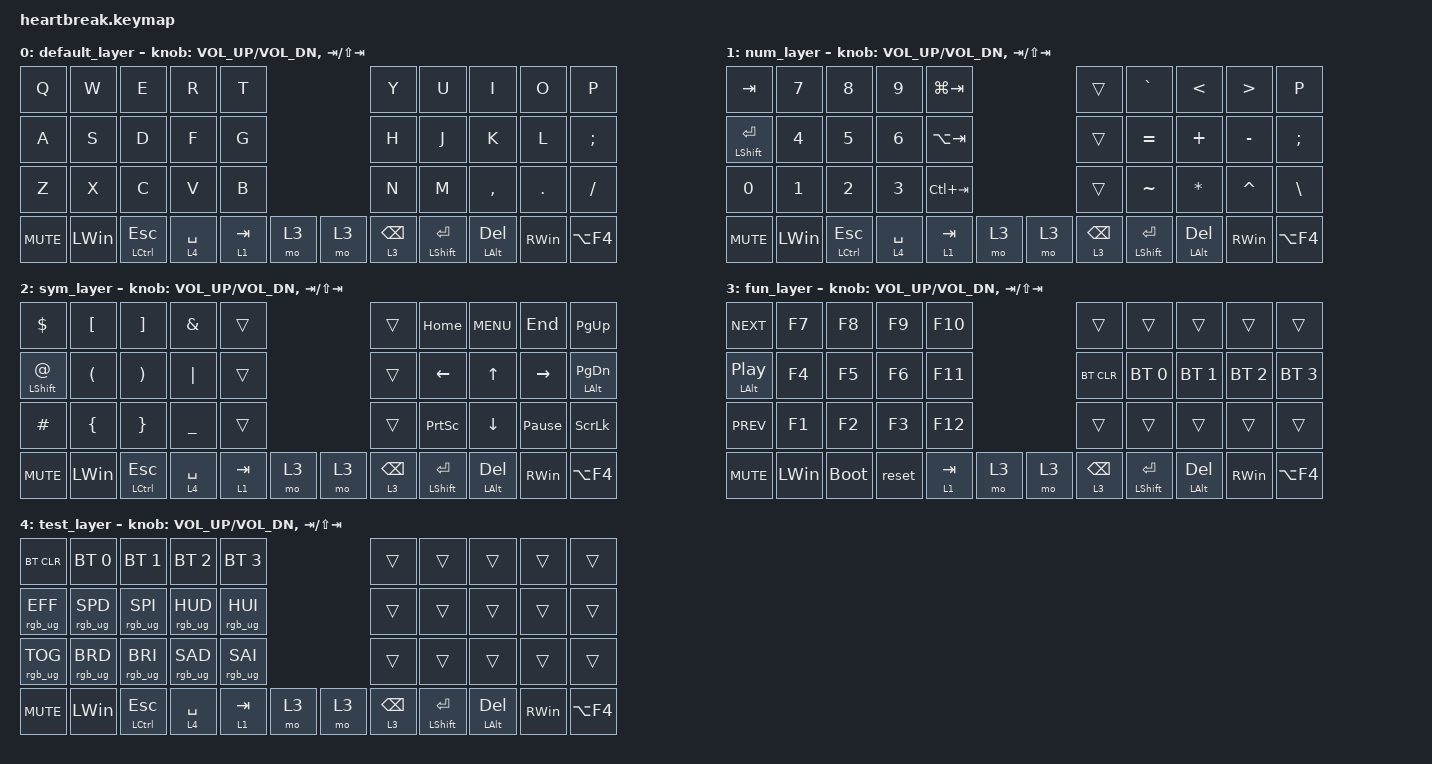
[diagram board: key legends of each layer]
// Copyright (c) 2022 The ZMK Contributors
// SPDX-License-Identifier: MIT

#include <behaviors.dtsi>
#include <dt-bindings/zmk/keys.h>
#include <dt-bindings/zmk/rgb.h>
#include <dt-bindings/zmk/bt.h>
#define default_layer 0
#define num_layer     1
#define sym_layer     2
#define fun_layer     3
#define test_layer	  4

/ {
	keymap {
		compatible = "zmk,keymap";

		default_layer {
			bindings = <
	&kp Q		&kp W		&kp E			&kp R		&kp T								&kp Y		&kp U			&kp I			&kp O		&kp P
	&kp A		&kp S		&kp D			&kp F		&kp G								&kp H		&kp J			&kp K			&kp L		&kp SEMI
	&kp Z		&kp X		&kp C			&kp V		&kp B								&kp N		&kp M			&kp COMMA		&kp DOT		&kp FSLH
	&kp C_MUTE	&kp LWIN	&mt LCTRL ESC	&lt 4 SPACE	&lt 1 TAB	&mo 3			&mo 3	&lt 3 BSPC	&mt LSHIFT RET	&mt LALT DEL	&kp RWIN	&kp LA(F4)
			>;

			sensor-bindings = <&inc_dec_kp C_VOL_UP C_VOL_DN &inc_dec_kp TAB LS(TAB)>;
		};

		num_layer {
			bindings = <
	&kp TAB			&kp N7		&kp N8			&kp N9		&kp LG(TAB)							&trans		&kp GRAVE		&kp LT			&kp GT		&kp P
	&mt LSHIFT RET	&kp N4		&kp N5			&kp N6		&kp LA(TAB)							&trans		&kp EQUAL		&kp PLUS		&kp MINUS	&kp SEMI
	&kp N0			&kp N1		&kp N2			&kp N3		&kp LC(TAB)							&trans		&kp TILDE		&kp STAR		&kp CARET	&kp BSLH
	&kp C_MUTE		&kp LWIN	&mt LCTRL ESC	&lt 4 SPACE	&lt 1 TAB	&mo 3			&mo 3	&lt 3 BSPC	&mt LSHIFT RET	&mt LALT DEL	&kp RWIN	&kp LA(F4)
			>;

			sensor-bindings = <&inc_dec_kp C_VOL_UP C_VOL_DN &inc_dec_kp TAB LS(TAB)>;
		};

		sym_layer {
			bindings = <
	&kp DLLR		&kp LBKT	&kp RBKT		&kp AMPS	&trans								&trans		&kp HOME		&kp K_MENU		&kp END			&kp PG_UP
	&mt LSHIFT AT	&kp LPAR	&kp RPAR		&kp PIPE	&trans								&trans		&kp LEFT		&kp UP			&kp RIGHT		&mt LALT PG_DN
	&kp HASH		&kp LBRC	&kp RBRC		&kp UNDER	&trans								&trans		&kp PSCRN		&kp DOWN		&kp PAUSE_BREAK	&kp SLCK
	&kp C_MUTE		&kp LWIN	&mt LCTRL ESC	&lt 4 SPACE	&lt 1 TAB	&mo 3			&mo 3	&lt 3 BSPC	&mt LSHIFT RET	&mt LALT DEL	&kp RWIN		&kp LA(F4)
			>;

			sensor-bindings = <&inc_dec_kp C_VOL_UP C_VOL_DN &inc_dec_kp TAB LS(TAB)>;
		};

		fun_layer {
			bindings = <
	&kp C_NEXT		&kp F7		&kp F8			&kp F9		&kp F10								&trans		&trans			&trans			&trans			&trans
	&mt LALT C_PP	&kp F4		&kp F5			&kp F6		&kp F11								&bt BT_CLR	&bt BT_SEL 0	&bt BT_SEL 1	&bt BT_SEL 2	&bt BT_SEL 3
	&kp C_PREV		&kp F1		&kp F2			&kp F3		&kp F12								&trans		&trans			&trans			&trans			&trans
	&kp C_MUTE		&kp LWIN	&bootloader		&reset		&lt 1 TAB	&mo 3			&mo 3	&lt 3 BSPC	&mt LSHIFT RET	&mt LALT DEL	&kp RWIN		&kp LA(F4)
			>;

			sensor-bindings = <&inc_dec_kp C_VOL_UP C_VOL_DN &inc_dec_kp TAB LS(TAB)>;
		};	

		test_layer {
			bindings = <
	&bt BT_CLR		&bt BT_SEL 0	&bt BT_SEL 1	&bt BT_SEL 2	&bt BT_SEL 3						&trans		&trans			&trans			&trans			&trans
	&rgb_ug RGB_EFF	&rgb_ug RGB_SPD &rgb_ug RGB_SPI	&rgb_ug RGB_HUD	&rgb_ug RGB_HUI						&trans		&trans			&trans			&trans			&trans
	&rgb_ug RGB_TOG	&rgb_ug RGB_BRD	&rgb_ug RGB_BRI	&rgb_ug RGB_SAD	&rgb_ug RGB_SAI						&trans		&trans			&trans			&trans			&trans
	&kp C_MUTE		&kp LWIN		&mt LCTRL ESC	&lt 4 SPACE		&lt 1 TAB	&mo 3			&mo 3	&lt 3 BSPC	&mt LSHIFT RET	&mt LALT DEL	&kp RWIN		&kp LA(F4)
			>;

			sensor-bindings = <&inc_dec_kp C_VOL_UP C_VOL_DN &inc_dec_kp TAB LS(TAB)>;
		};

	};
};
